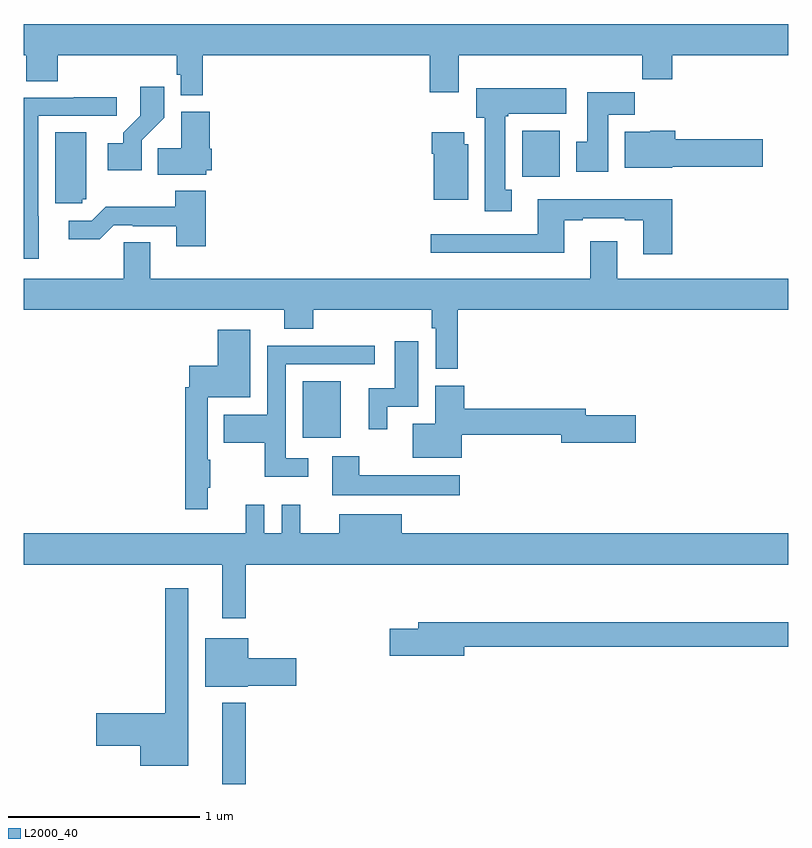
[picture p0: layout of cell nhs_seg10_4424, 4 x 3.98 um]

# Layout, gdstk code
import gdstk
lib = gdstk.Library(unit=1e-6, precision=1e-09)
def R(c, l, rs):  # rectangles x0, y0, x1, y1
    for r in rs: c.add(gdstk.rectangle(r[:2], r[2:], *l))
def P(c, l, *ps):  # polygons
    for p in ps: c.add(gdstk.Polygon(p, *l))
L2000_40 = (2000, 40)

nhs_seg10_4424 = lib.new_cell('nhs_seg10_4424')
R(nhs_seg10_4424, L2000_40, [(362.039,1300.5,362.161,1300.924), (362.459,1302.311,362.659,1302.607), (363.608,1303.676,363.805,1303.918)])
P(nhs_seg10_4424, L2000_40, [(361.937,1304.312),(363.125,1304.312),(363.125,1304.118),(363.277,1304.118),(363.277,1304.312),(364.237,1304.312),(364.237,1304.188),(364.394,1304.188),(364.394,1304.312),(365,1304.312),(365,1304.476),(361,1304.476),(361,1304.312),(361.013,1304.312),(361.013,1304.176),(361.178,1304.176),(361.178,1304.312),(361.801,1304.312),(361.801,1304.211),(361.821,1304.211),(361.821,1304.102),(361.937,1304.102)],
  [(361.617,1303.867),(361.736,1303.986),(361.736,1304.149),(361.611,1304.149),(361.611,1303.997),(361.52,1303.907),(361.52,1303.852),(361.44,1303.852),(361.44,1303.712),(361.617,1303.712)],
  [(363.553,1303.61),(363.52,1303.61),(363.52,1303.993),(363.534,1303.993),(363.534,1304.006),(363.838,1304.006),(363.838,1304.14),(363.368,1304.14),(363.368,1303.986),(363.413,1303.986),(363.413,1303.497),(363.553,1303.497)],
  [(364.057,1304),(364.196,1304),(364.196,1304.119),(363.947,1304.119),(363.947,1303.86),(363.89,1303.86),(363.89,1303.704),(364.057,1303.704)],
  [(361.078,1303.47),(361.077,1303.47),(361.077,1303.995),(361.486,1303.995),(361.486,1304.094),(361.261,1304.094),(361.261,1304.091),(361,1304.091),(361,1303.248),(361.078,1303.248)],
  [(361.956,1303.71),(361.985,1303.71),(361.985,1303.824),(361.973,1303.824),(361.973,1304.017),(361.823,1304.017),(361.823,1303.826),(361.702,1303.826),(361.702,1303.688),(361.956,1303.688)],
  [(364.392,1303.73),(364.867,1303.73),(364.867,1303.872),(364.409,1303.872),(364.409,1303.918),(364.278,1303.918),(364.278,1303.912),(364.145,1303.912),(364.145,1303.724),(364.392,1303.724)],
  [(363.325,1303.848),(363.304,1303.848),(363.304,1303.909),(363.134,1303.909),(363.134,1303.796),(363.146,1303.796),(363.146,1303.556),(363.325,1303.556)],
  [(361.305,1303.56),(361.327,1303.56),(361.327,1303.909),(361.166,1303.909),(361.166,1303.539),(361.305,1303.539)],
  [(361.952,1303.603),(361.792,1303.603),(361.792,1303.519),(361.429,1303.519),(361.356,1303.446),(361.236,1303.446),(361.236,1303.349),(361.397,1303.349),(361.47,1303.422),(361.57,1303.422),(361.57,1303.419),(361.799,1303.419),(361.799,1303.314),(361.952,1303.314)],
  [(364.394,1303.558),(363.689,1303.558),(363.689,1303.377),(363.129,1303.377),(363.129,1303.28),(363.829,1303.28),(363.829,1303.449),(363.925,1303.449),(363.925,1303.461),(364.145,1303.461),(364.145,1303.449),(364.241,1303.449),(364.241,1303.272),(364.394,1303.272)],
  [(363.272,1302.98),(365,1302.98),(365,1303.144),(364.105,1303.144),(364.105,1303.339),(363.965,1303.339),(363.965,1303.144),(361.663,1303.144),(361.663,1303.334),(361.524,1303.334),(361.524,1303.144),(361,1303.144),(361,1302.98),(362.363,1302.98),(362.363,1302.881),(362.516,1302.881),(362.516,1302.98),(363.136,1302.98),(363.136,1302.884),(363.156,1302.884),(363.156,1302.672),(363.272,1302.672)],
  [(361.964,1302.049),(361.975,1302.049),(361.975,1302.197),(361.962,1302.197),(361.962,1302.524),(362.185,1302.524),(362.185,1302.877),(362.015,1302.877),(362.015,1302.687),(361.866,1302.687),(361.866,1302.575),(361.846,1302.575),(361.846,1301.937),(361.964,1301.937)],
  [(362.902,1302.474),(363.064,1302.474),(363.064,1302.817),(362.942,1302.817),(362.942,1302.57),(362.804,1302.57),(362.804,1302.357),(362.902,1302.357)],
  [(362.488,1302.204),(362.37,1302.204),(362.37,1302.696),(362.836,1302.696),(362.836,1302.794),(362.599,1302.794),(362.599,1302.792),(362.274,1302.792),(362.274,1302.433),(362.047,1302.433),(362.047,1302.286),(362.262,1302.286),(362.262,1302.107),(362.488,1302.107)],
  [(363.292,1302.328),(363.812,1302.328),(363.812,1302.286),(364.201,1302.286),(364.201,1302.428),(363.94,1302.428),(363.94,1302.464),(363.305,1302.464),(363.305,1302.583),(363.152,1302.583),(363.152,1302.385),(363.035,1302.385),(363.035,1302.206),(363.292,1302.206)],
  [(363.28,1302.115),(362.755,1302.115),(362.755,1302.214),(362.615,1302.214),(362.615,1302.011),(363.28,1302.011)],
  [(362.161,1301.648),(365,1301.648),(365,1301.812),(362.977,1301.812),(362.977,1301.911),(362.651,1301.911),(362.651,1301.812),(362.447,1301.812),(362.447,1301.962),(362.349,1301.962),(362.349,1301.812),(362.259,1301.812),(362.259,1301.962),(362.162,1301.962),(362.162,1301.812),(361,1301.812),(361,1301.648),(362.039,1301.648),(362.039,1301.367),(362.161,1301.367)],
  [(361.861,1301.524),(361.74,1301.524),(361.74,1300.871),(361.38,1300.871),(361.38,1300.7),(361.61,1300.7),(361.61,1300.595),(361.861,1300.595)],
  [(363.304,1301.218),(365,1301.218),(365,1301.347),(363.065,1301.347),(363.065,1301.313),(362.916,1301.313),(362.916,1301.171),(363.304,1301.171)],
  [(362.172,1301.015),(362.425,1301.015),(362.425,1301.157),(362.176,1301.157),(362.176,1301.263),(361.949,1301.263),(361.949,1301.009),(362.172,1301.009)])

lib.write_gds('nhs_seg10_4424.gds')
